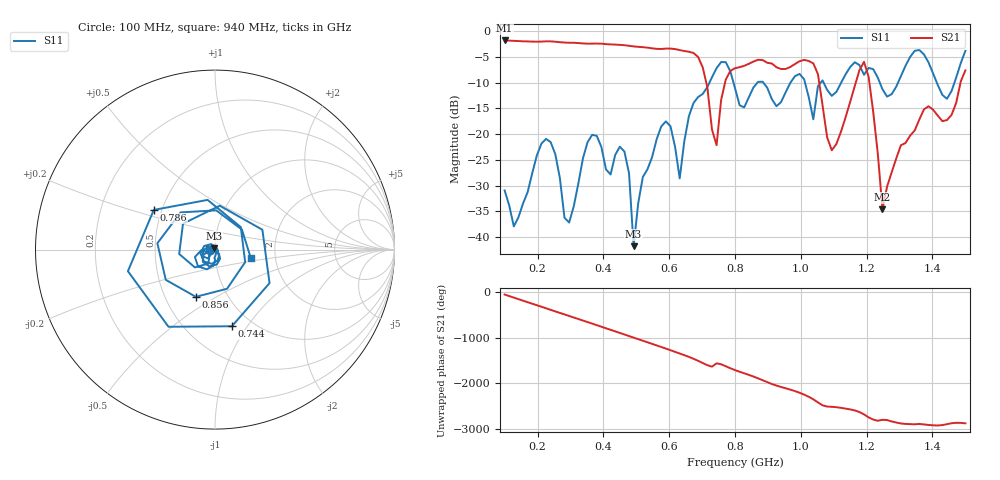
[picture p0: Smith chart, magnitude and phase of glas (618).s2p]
! NanoVNA-App
! Date: 2025-09-25 16:00:17
! Start: 100MHz Stop: 1,5GHz Points: 101
! S-Parameter data: F S11 S21 S12 S22
# Hz S RI R 50
!  Frequency  S11_Real  S11_Imag  S21_Real  S21_Imag  S12_Real  S12_Imag  S22_Real  S22_Imag
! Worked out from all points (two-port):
!   101 points, 100 MHz to 1.5 GHz, reference 50 ohm
!   highest |S21| = -1.80 dB at 100 MHz (marker M1); lowest = -34.6 dB at 1.248 GHz (marker M2)
!   |S21| within 3 dB of the highest: start of sweep to 684.2 MHz
!   lowest |S11| = -41.8 dB at 492 MHz (marker M3), VSWR 1.02, Z = 49.5 + j0.621 ohm
!   |S11| at or under -10 dB: start of sweep to 722.3 MHz; 795.4 MHz to 868 MHz (72.6 MHz wide, 8.73 % of centre); 886.2 MHz to 968.4 MHz (82.23 MHz wide, 8.87 % of centre) (the widest 3 of 7)
!   S12 and S22 are empty: the file has one direction only
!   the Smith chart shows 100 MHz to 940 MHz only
!   S11 on the Smith chart (normalised r, x): 100 MHz: 0.94, -0.01; 744 MHz: 0.81, -0.85; 786 MHz: 0.45, +0.24; 856 MHz: 0.71, -0.41; 940 MHz: 1.49, -0.15
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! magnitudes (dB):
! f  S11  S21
! 100 MHz  -30.9  -1.8
! 128 MHz  -37.9  -1.9
! 226 MHz  -20.9  -2.0
! 296 MHz  -37.2  -2.2
! 338 MHz  -24.7  -2.4
! 464 MHz  -23.4  -2.7
! 492 MHz  -41.8  -3.0
! 576 MHz  -18.5  -3.5
! 632 MHz  -28.6  -3.7
! 702 MHz  -12.2  -7.0
! 744 MHz  -7.2  -22.1
! 786 MHz  -7.8  -7.7
! 800 MHz  -11.1  -7.2
! 856 MHz  -10.9  -5.9
! 940 MHz  -13.8  -7.3
! 996 MHz  -8.3  -5.8
! 1.038 GHz  -17.1  -6.3
! 1.094 GHz  -12.6  -23.1
! 1.192 GHz  -8.5  -5.9
! 1.248 GHz  -11.3  -34.6
! 1.276 GHz  -12.2  -27.4
! 1.5 GHz  -3.8  -7.6
